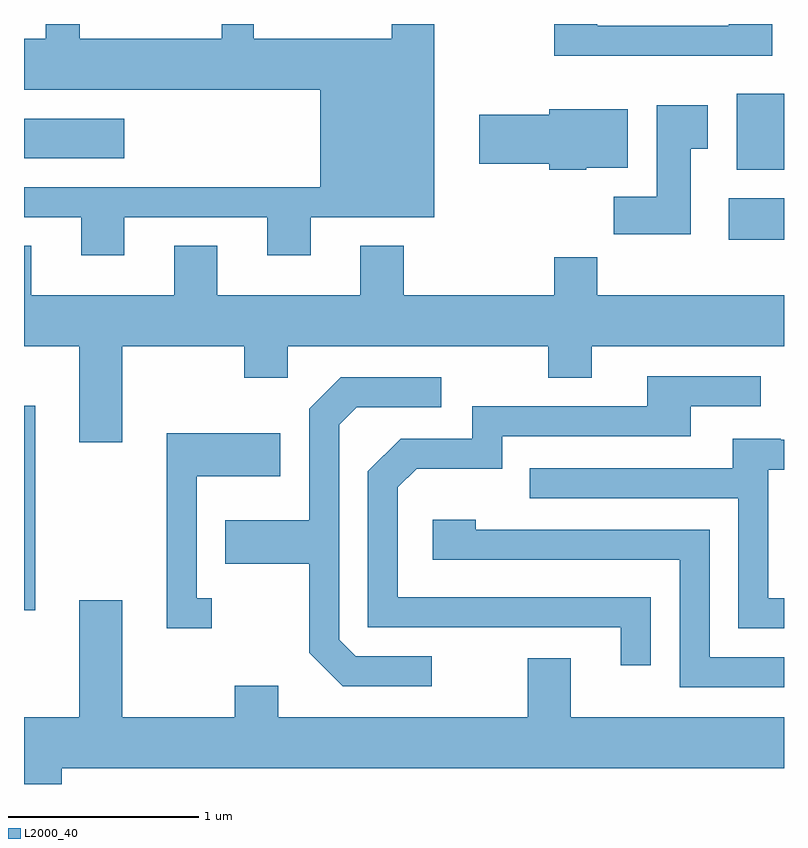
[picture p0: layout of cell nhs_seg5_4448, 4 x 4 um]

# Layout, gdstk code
import gdstk
lib = gdstk.Library(unit=1e-6, precision=1e-09)
def R(c, l, rs):  # rectangles x0, y0, x1, y1
    for r in rs: c.add(gdstk.rectangle(r[:2], r[2:], *l))
def P(c, l, *ps):  # polygons
    for p in ps: c.add(gdstk.Polygon(p, *l))
L2000_40 = (2000, 40)

nhs_seg5_4448 = lib.new_cell('nhs_seg5_4448')
R(nhs_seg5_4448, L2000_40, [(317.611,1430.986,317.669,1432.064), (321.321,1432.936,321.611,1433.154), (321.361,1433.306,321.611,1433.704), (317.611,1433.366,318.139,1433.574)])
P(nhs_seg5_4448, L2000_40, [(318.139,1433.056),(318.891,1433.056),(318.891,1432.856),(319.119,1432.856),(319.119,1433.056),(319.769,1433.056),(319.769,1434.072),(319.546,1434.072),(319.546,1433.994),(318.819,1433.994),(318.819,1434.072),(318.651,1434.072),(318.651,1433.994),(317.904,1433.994),(317.904,1434.072),(317.726,1434.072),(317.726,1433.994),(317.611,1433.994),(317.611,1433.726),(319.171,1433.726),(319.171,1433.214),(317.611,1433.214),(317.611,1433.056),(317.911,1433.056),(317.911,1432.856),(318.139,1432.856)],
  [(321.549,1434.072),(321.321,1434.072),(321.321,1434.064),(320.629,1434.064),(320.629,1434.072),(320.401,1434.072),(320.401,1433.906),(321.549,1433.906)],
  [(321.119,1433.416),(321.209,1433.416),(321.209,1433.644),(320.941,1433.644),(320.941,1433.164),(320.716,1433.164),(320.716,1432.966),(321.119,1432.966)],
  [(320.57,1433.316),(320.789,1433.316),(320.789,1433.624),(320.376,1433.624),(320.376,1433.594),(320.006,1433.594),(320.006,1433.336),(320.376,1433.336),(320.376,1433.306),(320.57,1433.306)],
  [(318.129,1432.376),(318.771,1432.376),(318.771,1432.211),(318.999,1432.211),(318.999,1432.376),(320.371,1432.376),(320.371,1432.211),(320.599,1432.211),(320.599,1432.376),(321.611,1432.376),(321.611,1432.644),(320.629,1432.644),(320.629,1432.844),(320.401,1432.844),(320.401,1432.644),(319.609,1432.644),(319.609,1432.904),(319.381,1432.904),(319.381,1432.644),(318.629,1432.644),(318.629,1432.904),(318.401,1432.904),(318.401,1432.644),(317.649,1432.644),(317.649,1432.904),(317.611,1432.904),(317.611,1432.376),(317.901,1432.376),(317.901,1431.871),(318.129,1431.871)],
  [(320.909,1431.054),(319.579,1431.054),(319.579,1431.634),(319.677,1431.731),(320.129,1431.731),(320.129,1431.901),(321.119,1431.901),(321.119,1432.061),(321.488,1432.061),(321.488,1432.219),(320.891,1432.219),(320.891,1432.059),(319.971,1432.059),(319.971,1431.889),(319.594,1431.889),(319.421,1431.717),(319.421,1430.896),(320.751,1430.896),(320.751,1430.698),(320.909,1430.698)],
  [(319.758,1430.744),(319.357,1430.744),(319.269,1430.832),(319.269,1431.964),(319.362,1432.056),(319.808,1432.056),(319.808,1432.214),(319.279,1432.214),(319.111,1432.047),(319.111,1431.459),(318.671,1431.459),(318.671,1431.231),(319.111,1431.231),(319.111,1430.764),(319.289,1430.586),(319.758,1430.586)],
  [(318.598,1431.049),(318.519,1431.049),(318.519,1431.691),(318.959,1431.691),(318.959,1431.919),(318.361,1431.919),(318.361,1430.891),(318.598,1430.891)],
  [(321.611,1431.049),(321.529,1431.049),(321.529,1431.726),(321.611,1431.726),(321.611,1431.884),(321.595,1431.884),(321.595,1431.889),(321.341,1431.889),(321.341,1431.734),(320.273,1431.734),(320.273,1431.576),(321.371,1431.576),(321.371,1430.891),(321.611,1430.891)],
  [(321.611,1430.739),(321.219,1430.739),(321.219,1431.409),(319.989,1431.409),(319.989,1431.464),(319.761,1431.464),(319.761,1431.251),(321.061,1431.251),(321.061,1430.581),(321.611,1430.581)],
  [(317.809,1430.156),(321.611,1430.156),(321.611,1430.424),(320.489,1430.424),(320.489,1430.734),(320.261,1430.734),(320.261,1430.424),(318.949,1430.424),(318.949,1430.589),(318.721,1430.589),(318.721,1430.424),(318.129,1430.424),(318.129,1431.039),(317.901,1431.039),(317.901,1430.424),(317.611,1430.424),(317.611,1430.072),(317.809,1430.072)])

lib.write_gds('nhs_seg5_4448.gds')
